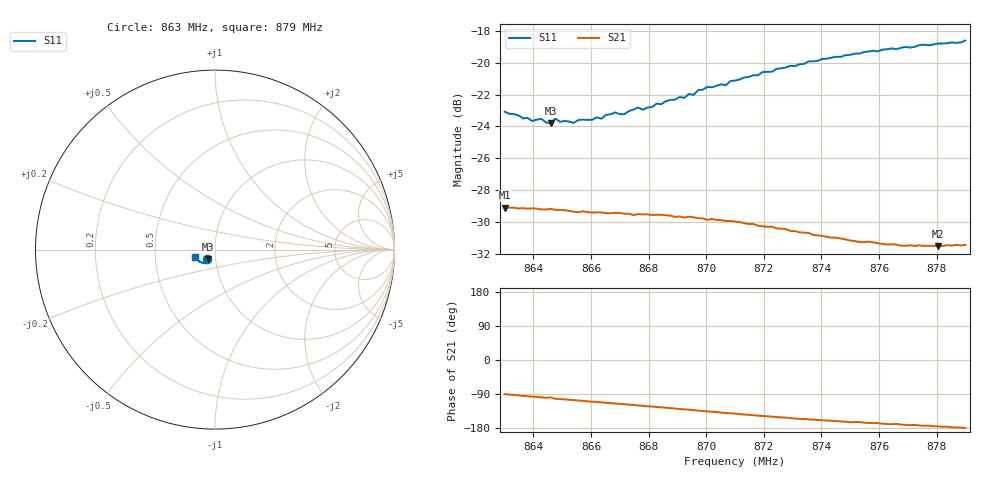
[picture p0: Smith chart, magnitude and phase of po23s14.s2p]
# HZ S RI R 50
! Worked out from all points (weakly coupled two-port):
!   101 points, 863 MHz to 879 MHz, reference 50 ohm
!   highest |S21| = -29.09 dB at 863 MHz (marker M1); lowest = -31.5 dB at 878.04 MHz (marker M2)
!   lowest |S11| = -23.8 dB at 864.6 MHz (marker M3), VSWR 1.14, Z = 46.2 - j4.87 ohm
!   |S11| at or under -10 dB: start of sweep to end of sweep
!   S12 and S22 are empty: the file has one direction only
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8.63e8  -0.045 -0.0539  -1.5e-05 -0.0351  0 0  0 0
8.6396e8  -0.0391 -0.0527  -0.00405 -0.0347  0 0  0 0
8.6428e8  -0.0385 -0.0544  -0.0051 -0.0343  0 0  0 0
8.646e8  -0.0373 -0.0526  -0.00522 -0.0344  0 0  0 0
8.6476e8  -0.038 -0.055  -0.00733 -0.0338  0 0  0 0
8.654e8  -0.0343 -0.0549  -0.00927 -0.0328  0 0  0 0
8.6572e8  -0.0341 -0.0569  -0.0104 -0.0325  0 0  0 0
8.6636e8  -0.0348 -0.0569  -0.0126 -0.0314  0 0  0 0
8.6684e8  -0.0346 -0.0606  -0.0142 -0.0307  0 0  0 0
8.6716e8  -0.0336 -0.0602  -0.0152 -0.0299  0 0  0 0
8.6764e8  -0.0354 -0.0631  -0.0168 -0.029  0 0  0 0
8.678e8  -0.0352 -0.0619  -0.0172 -0.0287  0 0  0 0
8.6844e8  -0.0343 -0.0657  -0.019 -0.0273  0 0  0 0
8.694e8  -0.0396 -0.0693  -0.0216 -0.0248  0 0  0 0
8.6956e8  -0.0396 -0.0686  -0.0221 -0.0242  0 0  0 0
8.7004e8  -0.0428 -0.0722  -0.0229 -0.0225  0 0  0 0
8.7068e8  -0.0437 -0.0729  -0.0243 -0.0206  0 0  0 0
8.71e8  -0.0479 -0.0738  -0.0248 -0.0198  0 0  0 0
8.7372e8  -0.068 -0.0746  -0.0266 -0.0111  0 0  0 0
8.7644e8  -0.0927 -0.061  -0.0265 -0.00496  0 0  0 0
8.7804e8  -0.104 -0.0489  -0.0264 -0.00227  0 0  0 0
8.79e8  -0.1107 -0.0393  -0.0268 -0.000414  0 0  0 0
